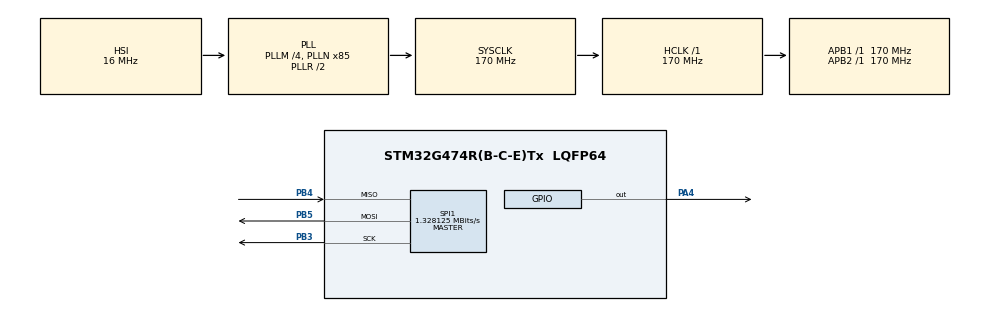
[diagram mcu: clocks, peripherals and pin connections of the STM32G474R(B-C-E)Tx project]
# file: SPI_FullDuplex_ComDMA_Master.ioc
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Dma.Request0=SPI1_TX
Dma.Request1=SPI1_RX
Dma.SPI1_RX.1.Direction=DMA_PERIPH_TO_MEMORY
Dma.SPI1_RX.1.EventEnable=DISABLE
Dma.SPI1_RX.1.Instance=DMA1_Channel2
Dma.SPI1_RX.1.MemDataAlignment=DMA_MDATAALIGN_BYTE
Dma.SPI1_RX.1.MemInc=DMA_MINC_ENABLE
Dma.SPI1_RX.1.Mode=DMA_NORMAL
Dma.SPI1_RX.1.PeriphDataAlignment=DMA_PDATAALIGN_BYTE
Dma.SPI1_RX.1.PeriphInc=DMA_PINC_DISABLE
Dma.SPI1_RX.1.Polarity=HAL_DMAMUX_REQ_GEN_RISING
Dma.SPI1_RX.1.Priority=DMA_PRIORITY_HIGH
Dma.SPI1_RX.1.RequestNumber=1
Dma.SPI1_RX.1.SignalID=NONE
Dma.SPI1_RX.1.SyncEnable=DISABLE
Dma.SPI1_RX.1.SyncPolarity=HAL_DMAMUX_SYNC_NO_EVENT
Dma.SPI1_RX.1.SyncRequestNumber=1
Dma.SPI1_RX.1.SyncSignalID=NONE
Dma.SPI1_TX.0.Direction=DMA_MEMORY_TO_PERIPH
Dma.SPI1_TX.0.EventEnable=DISABLE
Dma.SPI1_TX.0.Instance=DMA1_Channel3
Dma.SPI1_TX.0.MemDataAlignment=DMA_MDATAALIGN_BYTE
Dma.SPI1_TX.0.MemInc=DMA_MINC_ENABLE
Dma.SPI1_TX.0.Mode=DMA_NORMAL
Dma.SPI1_TX.0.PeriphDataAlignment=DMA_PDATAALIGN_BYTE
Dma.SPI1_TX.0.PeriphInc=DMA_PINC_DISABLE
Dma.SPI1_TX.0.Polarity=HAL_DMAMUX_REQ_GEN_RISING
Dma.SPI1_TX.0.Priority=DMA_PRIORITY_LOW
Dma.SPI1_TX.0.RequestNumber=1
Dma.SPI1_TX.0.SignalID=NONE
Dma.SPI1_TX.0.SyncEnable=DISABLE
Dma.SPI1_TX.0.SyncPolarity=HAL_DMAMUX_SYNC_NO_EVENT
Dma.SPI1_TX.0.SyncRequestNumber=1
Dma.SPI1_TX.0.SyncSignalID=NONE
Mcu.Family=STM32G4
Mcu.Name=STM32G474R(B-C-E)Tx
Mcu.Package=LQFP64
NVIC.DMA1_Channel2_IRQn=true\:0\:0\:false\:false\:true\:true\:true\:true
NVIC.DMA1_Channel3_IRQn=true\:0\:0\:false\:false\:true\:true\:true\:true
NVIC.PriorityGroup=NVIC_PRIORITYGROUP_4
PA4.Signal=GPIO_Output
PB3.GPIO_Speed=GPIO_SPEED_FREQ_VERY_HIGH
PB3.Mode=Full_Duplex_Master
PB3.Signal=SPI1_SCK
PB4.GPIO_PuPd=GPIO_PULLUP
PB4.GPIO_Speed=GPIO_SPEED_FREQ_VERY_HIGH
PB4.Mode=Full_Duplex_Master
PB4.Signal=SPI1_MISO
PB5.GPIO_PuPd=GPIO_NOPULL
PB5.GPIO_Speed=GPIO_SPEED_FREQ_VERY_HIGH
PB5.Mode=Full_Duplex_Master
PB5.Signal=SPI1_MOSI
ProjectManager.HeapSize=0x200
ProjectManager.StackSize=0x400
ProjectManager.TargetToolchain=STM32CubeIDE
RCC.ADC12Freq_Value=170000000
RCC.ADC345Freq_Value=170000000
RCC.AHBFreq_Value=170000000
RCC.APB1Freq_Value=170000000
RCC.APB1TimFreq_Value=170000000
RCC.APB2Freq_Value=170000000
RCC.APB2TimFreq_Value=170000000
RCC.CortexFreq_Value=170000000
RCC.EXTERNAL_CLOCK_VALUE=12288000
RCC.HCLKFreq_Value=170000000
RCC.HSE_VALUE=24000000
RCC.HSI48_VALUE=48000000
RCC.HSI_VALUE=16000000
RCC.LSE_VALUE=32768
RCC.PLLM=RCC_PLLM_DIV4
RCC.PLLN=85
RCC.SYSCLKFreq_VALUE=170000000
RCC.SYSCLKSource=RCC_SYSCLKSOURCE_PLLCLK
RCC.USBFreq_Value=170000000
RCC.VCOOutputFreq_Value=340000000
SPI1.BaudRatePrescaler=SPI_BAUDRATEPRESCALER_128
SPI1.CLKPhase=SPI_PHASE_1EDGE
SPI1.CLKPolarity=SPI_POLARITY_LOW
SPI1.CRCCalculation=SPI_CRCCALCULATION_ENABLE
SPI1.CRCLength=SPI_CRC_LENGTH_16BIT
SPI1.CRCPolynomial=X0+X2+X15
SPI1.CalculateBaudRate=1.328125 MBits/s
SPI1.DataSize=SPI_DATASIZE_8BIT
SPI1.Direction=SPI_DIRECTION_2LINES
SPI1.FirstBit=SPI_FIRSTBIT_MSB
SPI1.Mode=SPI_MODE_MASTER
SPI1.NSS=SPI_NSS_SOFT
SPI1.NSSPMode=SPI_NSS_PULSE_DISABLE
SPI1.TIMode=SPI_TIMODE_DISABLE
SPI1.VirtualType=VM_MASTER
VP_SYS_VS_DBSignals.Mode=DisableDeadBatterySignals
board=NUCLEO-G474RE

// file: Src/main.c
/* USER CODE BEGIN Header */
/**
  ******************************************************************************
  * @file    SPI/SPI_FullDuplex_ComDMA_Master/Src/main.c
  * @author  MCD Application Team
  * @brief   This sample code shows how to use STM32G4xx SPI HAL API to transmit
  *          and receive a data buffer with a communication process based on
  *          DMA transfer.
  *          The communication is done using 2 Boards.
  ******************************************************************************
  * @attention
  *
  * Copyright (c) 2019 STMicroelectronics.
  * All rights reserved.
  *
  * This software is licensed under terms that can be found in the LICENSE file
  * in the root directory of this software component.
  * If no LICENSE file comes with this software, it is provided AS-IS.
  *
  ******************************************************************************
  */
/* USER CODE END Header */
#include "main.h"

/* USER CODE BEGIN PD */
enum
{
  TRANSFER_WAIT,
  TRANSFER_COMPLETE,
  TRANSFER_ERROR
};
/* USER CODE END PD */

SPI_HandleTypeDef hspi1;
DMA_HandleTypeDef hdma_spi1_tx;
DMA_HandleTypeDef hdma_spi1_rx;

/* USER CODE BEGIN PV */
/* Buffer used for transmission */
uint8_t aTxBuffer[]   = "tmuwhgbwguygmliawromewzzjebiisyendbbfdluaxqzwmizmkumzoofoblglvnlwjrskthmsjhedgypxamwvgncowmwiurbvdeusykeevcrodvx";
// =  0x613A as CRC-16/UMTS - buffer 61 then 3A as last byte.
// RAW BYTES[112] = 74 6D 75 77 68 67 62 77 67 75 79 67 6D 6C 69 61 77 72 6F 6D 65 77 7A 7A 6A 65 62 69 69 73 79 65 6E 64 62 62 66 64 6C 75 61 78 71 7A 77 6D 69 7A 6D 6B 75 6D 7A 6F 6F 66 6F 62 6C 67 6C 76 6E 6C 77 6A 72 73 6B 74 68 6D 73 6A 68 65 64 67 79 70 78 61 6D 77 76 67 6E 63 6F 77 6D 77 69 75 72 62 76 64 65 75 73 79 6B 65 65 76 63 72 6F 64 76 78 61 3A
// Result	Check	Poly	Init	RefIn	RefOut	XorOut
// 0x613A	0xFEE8	0x8005	0x0000	false	false	0x0000

//uint8_t aTxBuffer[] = "****SPI - Two Boards communication based on DMA **** SPI Message ******** SPI Message ******** SPI Message ****";
// seems to match  CRC-16/UMTS
// https://crccalc.com/?crc=****SPI%20-%20Two%20Boards%20communication%20based%20on%20DMA%20****%20SPI%20Message%20********%20SPI%20Message%20********%20SPI%20Message%20****&method=CRC-16&datatype=ascii&outtype=hex
// ioc settings CRC16 with X0+X2+X15
// RAW BYTES[112] 2A 2A 2A 2A 53 50 49 20 2D 20 54 77 6F 20 42 6F 61 72 64 73 20 63 6F 6D 6D 75 6E 69 63 61 74 69 6F 6E 20 62 61 73 65 64 20 6F 6E 20 44 4D 41 20 2A 2A 2A 2A 20 53 50 49 20 4D 65 73 73 61 67 65 20 2A 2A 2A 2A 2A 2A 2A 2A 20 53 50 49 20 4D 65 73 73 61 67 65 20 2A 2A 2A 2A 2A 2A 2A 2A 20 53 50 49 20 4D 65 73 73 61 67 65 20 2A 2A 2A 2A
// = 73 C2 = 0x73C2
// website says :
// Result	Check	Poly	Init	RefIn	RefOut	XorOut
// 0x73C2	0xFEE8	0x8005	0x0000	false	false	0x0000

/* Buffer used for reception */
uint8_t aRxBuffer[BUFFERSIZE];

/* transfer state */
__IO uint32_t wTransferState = TRANSFER_WAIT;

/* USER CODE END PV */

void SystemClock_Config(void);
static void MX_GPIO_Init(void);
static void MX_DMA_Init(void);
static void MX_SPI1_Init(void);
/* USER CODE BEGIN PFP */
static uint16_t Buffercmp(uint8_t *pBuffer1, uint8_t *pBuffer2, uint16_t BufferLength);
/* USER CODE END PFP */

/* USER CODE BEGIN 0 */

void SPI_SC_Low()
{
	HAL_GPIO_WritePin(GPIOA, GPIO_PIN_4, GPIO_PIN_RESET);
}

void SPI_SC_High()
{
	HAL_GPIO_WritePin(GPIOA, GPIO_PIN_4, GPIO_PIN_SET);
}

void SPI_SEND()
{
	SPI_SC_Low();
	HAL_SPI_Transmit_DMA(&hspi1, (uint8_t *)aTxBuffer, BUFFERSIZE);
}

/* USER CODE END 0 */

int main(void)
{

  /* USER CODE BEGIN 1 */

  /* STM32G4xx HAL library initialization:
       - Configure the Flash prefetch
       - Systick timer is configured by default as source of time base, but user
         can eventually implement his proper time base source (a general purpose
         timer for example or other time source), keeping in mind that Time base
         duration should be kept 1ms since PPP_TIMEOUT_VALUEs are defined and
         handled in milliseconds basis.
       - Set NVIC Group Priority to 4
       - Low Level Initialization
     */
  /* USER CODE END 1 */

  /* MCU Configuration--------------------------------------------------------*/

  /* Reset of all peripherals, Initializes the Flash interface and the Systick. */
  HAL_Init();

  /* Configure the system clock */
  SystemClock_Config();

  /* Initialize all configured peripherals */
  MX_GPIO_Init();
  MX_DMA_Init();
  MX_SPI1_Init();
  /* USER CODE BEGIN 2 */

  /* Configure LED2 */
  BSP_LED_Init(LED2);

  /* Configure User push-button button */
  BSP_PB_Init(BUTTON_USER, BUTTON_MODE_GPIO);

  SPI_SEND();

  /* USER CODE END 2 */

  /* Infinite loop */
  while (1)
  {

    /* USER CODE BEGIN 3 */
	  while (wTransferState == TRANSFER_WAIT)
	  {
	  }

	  switch (wTransferState)
	  {
		case TRANSFER_COMPLETE :
		  /*##-3- Compare the sent and received buffers ##############################*/
			  HAL_Delay(10);
			  SPI_SEND();
		  break;

		default :
		  break;
	  }

  }
  /* USER CODE END 3 */
}

void SystemClock_Config(void)
{
  RCC_OscInitTypeDef RCC_OscInitStruct = {0};
  RCC_ClkInitTypeDef RCC_ClkInitStruct = {0};

  /** Configure the main internal regulator output voltage
  */
  HAL_PWREx_ControlVoltageScaling(PWR_REGULATOR_VOLTAGE_SCALE1_BOOST);

  /** Initializes the RCC Oscillators according to the specified parameters
  * in the RCC_OscInitTypeDef structure.
  */
  RCC_OscInitStruct.OscillatorType = RCC_OSCILLATORTYPE_HSI;
  RCC_OscInitStruct.HSIState = RCC_HSI_ON;
  RCC_OscInitStruct.HSICalibrationValue = RCC_HSICALIBRATION_DEFAULT;
  RCC_OscInitStruct.PLL.PLLState = RCC_PLL_ON;
  RCC_OscInitStruct.PLL.PLLSource = RCC_PLLSOURCE_HSI;
  RCC_OscInitStruct.PLL.PLLM = RCC_PLLM_DIV4;
  RCC_OscInitStruct.PLL.PLLN = 85;
  RCC_OscInitStruct.PLL.PLLP = RCC_PLLP_DIV2;
  RCC_OscInitStruct.PLL.PLLQ = RCC_PLLQ_DIV2;
  RCC_OscInitStruct.PLL.PLLR = RCC_PLLR_DIV2;
  if (HAL_RCC_OscConfig(&RCC_OscInitStruct) != HAL_OK)
  {
    Error_Handler();
  }

  /** Initializes the CPU, AHB and APB buses clocks
  */
  RCC_ClkInitStruct.ClockType = RCC_CLOCKTYPE_HCLK|RCC_CLOCKTYPE_SYSCLK
                              |RCC_CLOCKTYPE_PCLK1|RCC_CLOCKTYPE_PCLK2;
  RCC_ClkInitStruct.SYSCLKSource = RCC_SYSCLKSOURCE_PLLCLK;
  RCC_ClkInitStruct.AHBCLKDivider = RCC_SYSCLK_DIV1;
  RCC_ClkInitStruct.APB1CLKDivider = RCC_HCLK_DIV1;
  RCC_ClkInitStruct.APB2CLKDivider = RCC_HCLK_DIV1;

  if (HAL_RCC_ClockConfig(&RCC_ClkInitStruct, FLASH_LATENCY_4) != HAL_OK)
  {
    Error_Handler();
  }
}

static void MX_SPI1_Init(void)
{

  /* SPI1 parameter configuration*/
  hspi1.Instance = SPI1;
  hspi1.Init.Mode = SPI_MODE_MASTER;
  hspi1.Init.Direction = SPI_DIRECTION_2LINES;
  hspi1.Init.DataSize = SPI_DATASIZE_8BIT;
  hspi1.Init.CLKPolarity = SPI_POLARITY_LOW;
  hspi1.Init.CLKPhase = SPI_PHASE_1EDGE;
  hspi1.Init.NSS = SPI_NSS_SOFT;
  hspi1.Init.BaudRatePrescaler = SPI_BAUDRATEPRESCALER_128;
  hspi1.Init.FirstBit = SPI_FIRSTBIT_MSB;
  hspi1.Init.TIMode = SPI_TIMODE_DISABLE;
  hspi1.Init.CRCCalculation = SPI_CRCCALCULATION_ENABLE;
  hspi1.Init.CRCPolynomial = 32773;
  hspi1.Init.CRCLength = SPI_CRC_LENGTH_16BIT;
  hspi1.Init.NSSPMode = SPI_NSS_PULSE_DISABLE;
  if (HAL_SPI_Init(&hspi1) != HAL_OK)
  {
    Error_Handler();
  }

}

static void MX_DMA_Init(void)
{

  /* DMA controller clock enable */
  __HAL_RCC_DMAMUX1_CLK_ENABLE();
  __HAL_RCC_DMA1_CLK_ENABLE();

  /* DMA interrupt init */
  /* DMA1_Channel2_IRQn interrupt configuration */
  HAL_NVIC_SetPriority(DMA1_Channel2_IRQn, 0, 0);
  HAL_NVIC_EnableIRQ(DMA1_Channel2_IRQn);
  /* DMA1_Channel3_IRQn interrupt configuration */
  HAL_NVIC_SetPriority(DMA1_Channel3_IRQn, 0, 0);
  HAL_NVIC_EnableIRQ(DMA1_Channel3_IRQn);

}

static void MX_GPIO_Init(void)
{
  GPIO_InitTypeDef GPIO_InitStruct = {0};

  /* GPIO Ports Clock Enable */
  __HAL_RCC_GPIOA_CLK_ENABLE();
  __HAL_RCC_GPIOB_CLK_ENABLE();

  /*Configure GPIO pin Output Level */
  HAL_GPIO_WritePin(GPIOA, GPIO_PIN_4, GPIO_PIN_RESET);

  /*Configure GPIO pin : PA4 */
  GPIO_InitStruct.Pin = GPIO_PIN_4;
  GPIO_InitStruct.Mode = GPIO_MODE_OUTPUT_PP;
  GPIO_InitStruct.Pull = GPIO_NOPULL;
  GPIO_InitStruct.Speed = GPIO_SPEED_FREQ_LOW;
  HAL_GPIO_Init(GPIOA, &GPIO_InitStruct);

}

/* USER CODE BEGIN 4 */
/**
  * @brief  TxRx Transfer completed callback.
  * @param  hspi: SPI handle
  * @note   This example shows a simple way to report end of DMA TxRx transfer, and
  *         you can add your own implementation.
  * @retval None
  */
void HAL_SPI_TxRxCpltCallback(SPI_HandleTypeDef *hspi)
{
  /* Turn LED2 on: Transfer in transmission/reception process is complete */
  BSP_LED_Toggle(LED2);
  wTransferState = TRANSFER_COMPLETE;
  SPI_SC_High();
}

void HAL_SPI_TxCpltCallback(SPI_HandleTypeDef *hspi)
{
	  /* Turn LED2 on: Transfer in transmission/reception process is complete */
	  BSP_LED_Toggle(LED2);
	  wTransferState = TRANSFER_COMPLETE;
	  SPI_SC_High();
}

/**
  * @brief  SPI error callbacks.
  * @param  hspi: SPI handle
  * @note   This example shows a simple way to report transfer error, and you can
  *         add your own implementation.
  * @retval None
  */
void HAL_SPI_ErrorCallback(SPI_HandleTypeDef *hspi)
{
  wTransferState = TRANSFER_ERROR;
}

/**
  * @brief  Compares two buffers.
  * @param  pBuffer1, pBuffer2: buffers to be compared.
  * @param  BufferLength: buffer's length
  * @retval 0  : pBuffer1 identical to pBuffer2
  *         >0 : pBuffer1 differs from pBuffer2
  */
static uint16_t Buffercmp(uint8_t *pBuffer1, uint8_t *pBuffer2, uint16_t BufferLength)
{
  while (BufferLength--)
  {
    if ((*pBuffer1) != *pBuffer2)
    {
      return BufferLength;
    }
    pBuffer1++;
    pBuffer2++;
  }

  return 0;
}

/* USER CODE END 4 */

void Error_Handler(void)
{
  /* USER CODE BEGIN Error_Handler_Debug */
  /* User can add his own implementation to report the HAL error return state */
	SPI_SC_High();

	while (1)
  {
    /* Toggle LED2 for error */
    HAL_Delay(1000);
  }
  /* USER CODE END Error_Handler_Debug */
}
